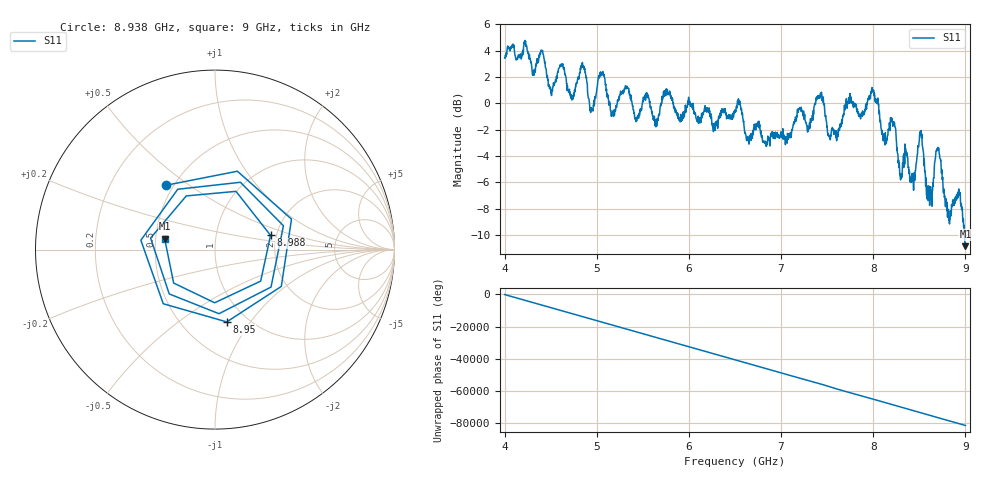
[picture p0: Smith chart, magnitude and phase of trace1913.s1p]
! Created with skrf 1.8.0 (http://scikit-rf.org).
# Hz S RI R 50.0
!freq ReS11 ImS11
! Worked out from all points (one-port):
!   1601 points, 4 GHz to 9 GHz, reference 50 ohm
!   lowest |S11| = -10.8 dB at 9 GHz (marker M1), VSWR 1.81, Z = 27.9 + j3.7 ohm
!   |S11| at or under -10 dB: 8.988936 GHz to end of sweep
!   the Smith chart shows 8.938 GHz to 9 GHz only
!   S11 on the Smith chart (normalised r, x): 8.938 GHz: 0.46, +0.41; 8.95 GHz: 0.80, -0.78; 8.988 GHz: 1.86, +0.33; 9 GHz: 0.56, +0.07
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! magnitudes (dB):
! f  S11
! 4 GHz  3.4
! 4.4 GHz  3.9
! 4.5 GHz  1.1
! 4.625 GHz  2.9
! 4.731 GHz  0.3
! 4.853 GHz  2.8
! 4.947 GHz  -0.4
! 5.044 GHz  2.4
! 5.172 GHz  -0.7
! 5.25 GHz  0.6
! 5.875 GHz  -0.7
! 6.5 GHz  -0.6
! 6.641 GHz  -2.6
! 7.125 GHz  -1.8
! 7.419 GHz  0.4
! 7.597 GHz  -2.5
! 7.75 GHz  0.2
! 7.997 GHz  0.9
! 8.375 GHz  -4.2
! 8.428 GHz  -5.3
! 8.512 GHz  -2.4
! 8.603 GHz  -6.3
! 8.703 GHz  -3.3
! 8.819 GHz  -8.8
! 8.938 GHz  -6.9
! 8.95 GHz  -7.8
! 8.988 GHz  -9.9
! 9 GHz  -10.8
